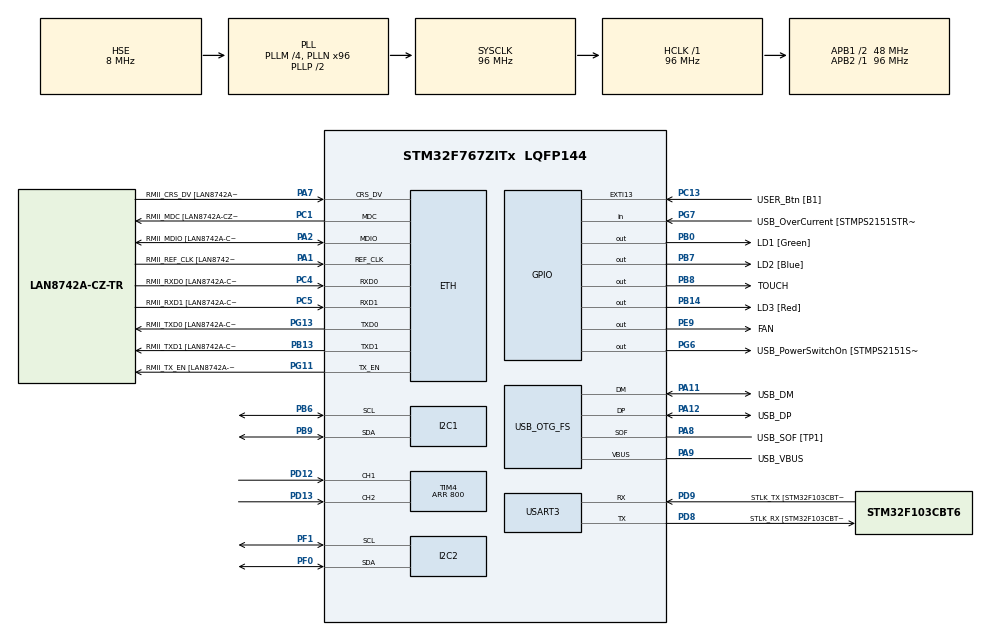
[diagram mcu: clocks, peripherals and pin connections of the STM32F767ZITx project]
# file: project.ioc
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ETH.MediaInterface=HAL_ETH_RMII_MODE
ETH.PHY_Name=LAN8742A_PHY_ADDRESS
ETH.PHY_Value=0
ETH.PhyAddress=0
I2C1.Timing=0x20303E5D
I2C2.Timing=0x20303E5D
Mcu.Family=STM32F7
Mcu.Name=STM32F767ZITx
Mcu.Package=LQFP144
NVIC.PriorityGroup=NVIC_PRIORITYGROUP_4
NVIC.TIM4_IRQn=true\:0\:0\:false\:false\:true\:true\:true\:true
NVIC.USART3_IRQn=true\:0\:0\:false\:false\:true\:true\:true\:true
PA1.GPIO_Label=RMII_REF_CLK [LAN8742A-CZ-TR_REFCLK0]
PA1.Mode=RMII
PA1.Signal=ETH_REF_CLK
PA10.GPIO_Label=USB_ID
PA10.Signal=USB_OTG_FS_ID
PA11.GPIO_Label=USB_DM
PA11.Mode=Device_Only
PA11.Signal=USB_OTG_FS_DM
PA12.GPIO_Label=USB_DP
PA12.Mode=Device_Only
PA12.Signal=USB_OTG_FS_DP
PA13.GPIO_Label=TMS
PA13.Mode=Serial_Wire
PA13.Signal=SYS_JTMS-SWDIO
PA14.GPIO_Label=TCK
PA14.Mode=Serial_Wire
PA14.Signal=SYS_JTCK-SWCLK
PA2.GPIO_Label=RMII_MDIO [LAN8742A-CZ-TR_MDIO]
PA2.Mode=RMII
PA2.Signal=ETH_MDIO
PA7.GPIO_Label=RMII_CRS_DV [LAN8742A-CZ-TR_CRS_DV]
PA7.Mode=RMII
PA7.Signal=ETH_CRS_DV
PA8.GPIO_Label=USB_SOF [TP1]
PA8.Mode=Activate_SOF_FS
PA8.Signal=USB_OTG_FS_SOF
PA9.GPIO_Label=USB_VBUS
PA9.Mode=Activate_VBUS
PA9.Signal=USB_OTG_FS_VBUS
PB0.GPIO_Label=LD1 [Green]
PB0.Signal=GPIO_Output
PB13.GPIO_Label=RMII_TXD1 [LAN8742A-CZ-TR_TXD1]
PB13.Mode=RMII
PB13.Signal=ETH_TXD1
PB14.GPIO_Label=LD3 [Red]
PB14.Signal=GPIO_Output
PB3.GPIO_Label=SWO
PB3.Signal=SYS_JTDO-SWO
PB6.Mode=I2C
PB6.Signal=I2C1_SCL
PB7.GPIO_Label=LD2 [Blue]
PB7.Signal=GPIO_Output
PB8.GPIO_Label=TOUCH
PB8.GPIO_ModeDefaultOutputPP=GPIO_MODE_OUTPUT_PP
PB8.GPIO_PuPd=GPIO_NOPULL
PB8.Signal=GPIO_Output
PB9.Mode=I2C
PB9.Signal=I2C1_SDA
PC1.GPIO_Label=RMII_MDC [LAN8742A-CZ-TR_MDC]
PC1.Mode=RMII
PC1.Signal=ETH_MDC
PC13.GPIO_Label=USER_Btn [B1]
PC13.Signal=GPXTI13
PC14/OSC32_IN.Mode=LSE-External-Oscillator
PC14/OSC32_IN.Signal=RCC_OSC32_IN
PC15/OSC32_OUT.Mode=LSE-External-Oscillator
PC15/OSC32_OUT.Signal=RCC_OSC32_OUT
PC4.GPIO_Label=RMII_RXD0 [LAN8742A-CZ-TR_RXD0]
PC4.Mode=RMII
PC4.Signal=ETH_RXD0
PC5.GPIO_Label=RMII_RXD1 [LAN8742A-CZ-TR_RXD1]
PC5.Mode=RMII
PC5.Signal=ETH_RXD1
PD12.Signal=S_TIM4_CH1
PD13.Signal=S_TIM4_CH2
PD8.GPIO_Label=STLK_RX [STM32F103CBT6_PA3]
PD8.Mode=Asynchronous
PD8.Signal=USART3_TX
PD9.GPIO_Label=STLK_TX [STM32F103CBT6_PA2]
PD9.Mode=Asynchronous
PD9.Signal=USART3_RX
PE9.GPIO_Label=FAN
PE9.Signal=GPIO_Output
PF0.GPIO_Pu=GPIO_PULLUP
PF0.Mode=I2C
PF0.Signal=I2C2_SDA
PF1.GPIO_Pu=GPIO_PULLUP
PF1.Mode=I2C
PF1.Signal=I2C2_SCL
PG11.GPIO_Label=RMII_TX_EN [LAN8742A-CZ-TR_TXEN]
PG11.Mode=RMII
PG11.Signal=ETH_TX_EN
PG13.GPIO_Label=RMII_TXD0 [LAN8742A-CZ-TR_TXD0]
PG13.Mode=RMII
PG13.Signal=ETH_TXD0
PG6.GPIO_Label=USB_PowerSwitchOn [STMPS2151STR_EN]
PG6.Signal=GPIO_Output
PG7.GPIO_Label=USB_OverCurrent [STMPS2151STR_FAULT]
PG7.Signal=GPIO_Input
PH0/OSC_IN.GPIO_Label=MCO [STM32F103CBT6_PA8]
PH0/OSC_IN.Mode=HSE-External-Clock-Source
PH0/OSC_IN.Signal=RCC_OSC_IN
PH1/OSC_OUT.Mode=HSE-External-Clock-Source
PH1/OSC_OUT.Signal=RCC_OSC_OUT
ProjectManager.HeapSize=0x200
ProjectManager.StackSize=0x400
ProjectManager.TargetToolchain=STM32CubeIDE
RCC.48MHZClocksFreq_Value=24000000
RCC.AHBFreq_Value=96000000
RCC.APB1CLKDivider=RCC_HCLK_DIV2
RCC.APB1Freq_Value=48000000
RCC.APB1TimFreq_Value=96000000
RCC.APB2Freq_Value=96000000
RCC.APB2TimFreq_Value=96000000
RCC.CortexFreq_Value=96000000
RCC.HCLKFreq_Value=96000000
RCC.HSE_VALUE=8000000
RCC.HSI_VALUE=16000000
RCC.PLLM=4
RCC.PLLMUL=RCC_PLL_MUL9
RCC.PLLN=96
RCC.PLLQ=4
RCC.PRESCALERUSB=RCC_USBCLKSOURCE_PLL_DIV1_5
RCC.SYSCLKFreq_VALUE=96000000
RCC.SYSCLKSource=RCC_SYSCLKSOURCE_PLLCLK
RCC.SYSCLKSourceVirtual=RCC_SYSCLKSOURCE_PLLCLK
RCC.USBFreq_Value=48000000
RCC.VCOOutputFreq_Value=192000000
SH.S_TIM4_CH1.0=TIM4_CH1,Encoder_Interface
SH.S_TIM4_CH2.0=TIM4_CH2,Encoder_Interface
TIM4.Period=800
USART3.VirtualMode-Asynchronous=VM_ASYNC
USB_OTG_FS.VirtualMode=Device_Only
VP_CRC_VS_CRC.Mode=CRC_Activate
board=NUCLEO-F767ZI

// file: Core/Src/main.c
/* USER CODE BEGIN Header */
/**
  ******************************************************************************
  * @file           : main.c
  * @brief          : Main program body
  ******************************************************************************
  * @attention
  *
  * Copyright (c) 2025 STMicroelectronics.
  * All rights reserved.
  *
  * This software is licensed under terms that can be found in the LICENSE file
  * in the root directory of this software component.
  * If no LICENSE file comes with this software, it is provided AS-IS.
  *
  ******************************************************************************
  */
/* USER CODE END Header */
#include "main.h"
#include "crc.h"
#include "eth.h"
#include "i2c.h"
#include "tim.h"
#include "usart.h"
#include "usb_otg.h"
#include "gpio.h"

/* USER CODE BEGIN Includes */
#include "i2c-lcd.h"
#include "humidifier_config.h"
#include "humidifier_control.h"
#include "serial_connection.h"
#include "controlLoop.h"
#include <stdio.h>
#include <string.h>
/* USER CODE END Includes */

/* USER CODE BEGIN PD */
#define RX_BUFFER_SIZE 64
/* USER CODE END PD */

/* USER CODE BEGIN PV */
float humidity = 34.56f, set = 70.0;
int state = 0, encoderLast;
char buff[16], rx_buffer[RX_BUFFER_SIZE];
_Bool tryingFor = 0, fanState = 0;
/* USER CODE END PV */

void SystemClock_Config(void);

int main(void)
{

  /* MCU Configuration--------------------------------------------------------*/

  /* Reset of all peripherals, Initializes the Flash interface and the Systick. */
  HAL_Init();

  /* Configure the system clock */
  SystemClock_Config();

  /* Initialize all configured peripherals */
  MX_GPIO_Init();
  MX_ETH_Init();
  MX_USART3_UART_Init();
  MX_USB_OTG_FS_PCD_Init();
  MX_I2C1_Init();
  MX_I2C2_Init();
  MX_TIM4_Init();
  MX_CRC_Init();
  /* USER CODE BEGIN 2 */
  HAL_TIM_Encoder_Start(&htim4, TIM_CHANNEL_1);
  HAL_TIM_Encoder_Start(&htim4, TIM_CHANNEL_2);
  __HAL_TIM_SET_COUNTER(&htim4, 480);

  __HAL_UART_FLUSH_DRREGISTER(&huart3);
  HAL_UART_Receive_IT(&huart3, (uint8_t *)&rx_buffer[0], 1);

  lcd_init(&hi2c2);
  lcd_clear(&hi2c2);

  /* USER CODE END 2 */

  /* Infinite loop */
  /* USER CODE BEGIN WHILE */
  while (1)
  {
	  //Target value processing
	  if(__HAL_TIM_GET_COUNTER(&htim4) >= 600)
		  __HAL_TIM_SET_COUNTER(&htim4, 600);
	  else if(__HAL_TIM_GET_COUNTER(&htim4) <= 200)
		  __HAL_TIM_SET_COUNTER(&htim4, 200);

      float received_value = receiveData();

      if (received_value >= 0.0f){
    	  set = received_value;
      	  encoderLast = __HAL_TIM_GET_COUNTER(&htim4);
      }

      if(encoderLast != __HAL_TIM_GET_COUNTER(&htim4)){
    	  set = (__HAL_TIM_GET_COUNTER(&htim4) - 200) / 4.0;
      }

	  //Humidifier control
      humidity = readHumidity();

	  main_control_loop(humidity, set * 0.942, set * 1.028);

	  if(tryingFor){
		  humidifier_on();
	  } else{
		  humidifier_off();
	  }

	  //Fan control
	  fan_control(humidity, set * 1.028, set * 1.03);
	  HAL_GPIO_WritePin(FAN_GPIO_Port, FAN_Pin, fanState);

	  //GUI update
      char buffer[50];
      sprintf(buffer, "%.2f,%.2f,%i,%i\n", set, humidity, fanState, tryingFor);
      send_data_with_crc((uint8_t *)buffer, strlen(buffer));

      //LCD update
	  lcd_clear(&hi2c2);
	  lcd_display_two_floats(&hi2c2, "Set: %.2f%%", "Read: %.2f%%", set, humidity);
	  HAL_Delay(500);
    /* USER CODE END WHILE */

  }
}

void SystemClock_Config(void)
{
  RCC_OscInitTypeDef RCC_OscInitStruct = {0};
  RCC_ClkInitTypeDef RCC_ClkInitStruct = {0};

  /** Configure LSE Drive Capability
  */
  HAL_PWR_EnableBkUpAccess();

  /** Configure the main internal regulator output voltage
  */
  __HAL_RCC_PWR_CLK_ENABLE();
  __HAL_PWR_VOLTAGESCALING_CONFIG(PWR_REGULATOR_VOLTAGE_SCALE3);

  /** Initializes the RCC Oscillators according to the specified parameters
  * in the RCC_OscInitTypeDef structure.
  */
  RCC_OscInitStruct.OscillatorType = RCC_OSCILLATORTYPE_HSE;
  RCC_OscInitStruct.HSEState = RCC_HSE_BYPASS;
  RCC_OscInitStruct.PLL.PLLState = RCC_PLL_ON;
  RCC_OscInitStruct.PLL.PLLSource = RCC_PLLSOURCE_HSE;
  RCC_OscInitStruct.PLL.PLLM = 4;
  RCC_OscInitStruct.PLL.PLLN = 96;
  RCC_OscInitStruct.PLL.PLLP = RCC_PLLP_DIV2;
  RCC_OscInitStruct.PLL.PLLQ = 4;
  RCC_OscInitStruct.PLL.PLLR = 2;
  if (HAL_RCC_OscConfig(&RCC_OscInitStruct) != HAL_OK)
  {
    Error_Handler();
  }

  /** Activate the Over-Drive mode
  */
  if (HAL_PWREx_EnableOverDrive() != HAL_OK)
  {
    Error_Handler();
  }

  /** Initializes the CPU, AHB and APB buses clocks
  */
  RCC_ClkInitStruct.ClockType = RCC_CLOCKTYPE_HCLK|RCC_CLOCKTYPE_SYSCLK
                              |RCC_CLOCKTYPE_PCLK1|RCC_CLOCKTYPE_PCLK2;
  RCC_ClkInitStruct.SYSCLKSource = RCC_SYSCLKSOURCE_PLLCLK;
  RCC_ClkInitStruct.AHBCLKDivider = RCC_SYSCLK_DIV1;
  RCC_ClkInitStruct.APB1CLKDivider = RCC_HCLK_DIV2;
  RCC_ClkInitStruct.APB2CLKDivider = RCC_HCLK_DIV1;

  if (HAL_RCC_ClockConfig(&RCC_ClkInitStruct, FLASH_LATENCY_3) != HAL_OK)
  {
    Error_Handler();
  }
}

void Error_Handler(void)
{
  __disable_irq();
  while (1)
  {
  }
}
